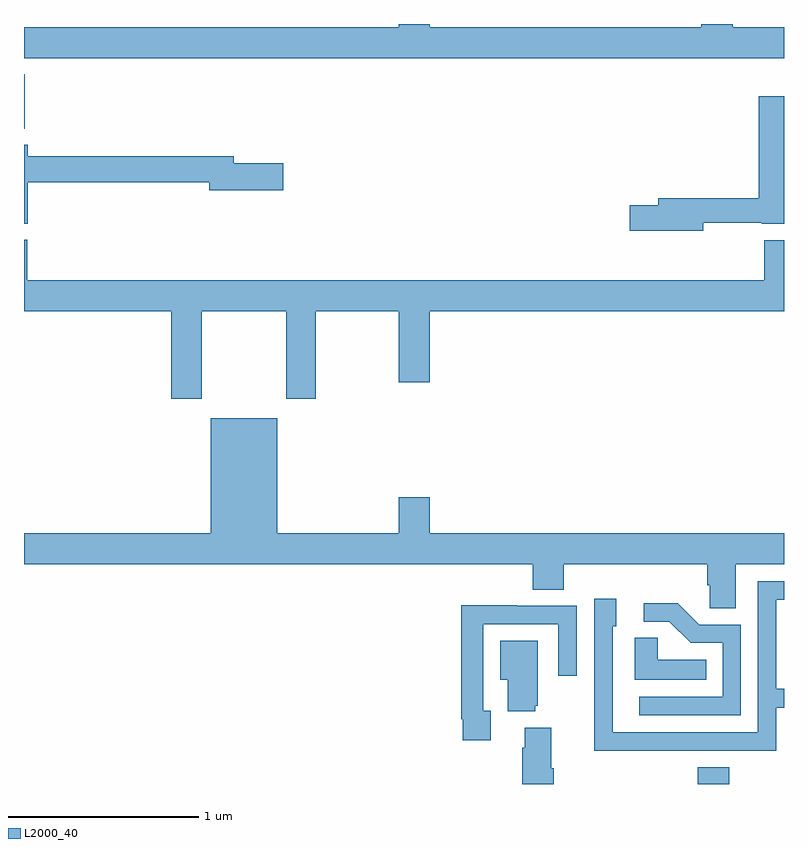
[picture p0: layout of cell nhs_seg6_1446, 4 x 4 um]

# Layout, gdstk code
import gdstk
lib = gdstk.Library(unit=1e-6, precision=1e-09)
def R(c, l, rs):  # rectangles x0, y0, x1, y1
    for r in rs: c.add(gdstk.rectangle(r[:2], r[2:], *l))
def P(c, l, *ps):  # polygons
    for p in ps: c.add(gdstk.Polygon(p, *l))
L2000_40 = (2000, 40)

nhs_seg6_1446 = lib.new_cell('nhs_seg6_1446')
R(nhs_seg6_1446, L2000_40, [(202.547,959.5,202.712,959.587), (199,962.949,199.004,963.235)])
P(nhs_seg6_1446, L2000_40, [(203,963.484),(202.73,963.484),(202.73,963.5),(202.565,963.5),(202.565,963.484),(201.136,963.484),(201.136,963.5),(200.972,963.5),(200.972,963.484),(199,963.484),(199,963.32),(203,963.32)],
  [(202.576,962.454),(202.884,962.454),(202.884,962.448),(203,962.448),(203,963.121),(202.868,963.121),(202.868,962.582),(202.337,962.582),(202.337,962.546),(202.188,962.546),(202.188,962.411),(202.576,962.411)],
  [(199.019,962.668),(199.976,962.668),(199.976,962.626),(200.365,962.626),(200.365,962.768),(200.104,962.768),(200.104,962.804),(199.019,962.804),(199.019,962.864),(199,962.864),(199,962.449),(199.019,962.449)],
  [(199.935,961.988),(200.38,961.988),(200.38,961.527),(200.535,961.527),(200.535,961.988),(200.972,961.988),(200.972,961.614),(201.136,961.614),(201.136,961.988),(203,961.988),(203,962.363),(202.895,962.363),(202.895,962.152),(199.016,962.152),(199.016,962.364),(199,962.364),(199,961.988),(199.775,961.988),(199.775,961.527),(199.935,961.527)],
  [(202.747,960.656),(203,960.656),(203,960.82),(201.136,960.82),(201.136,961.009),(200.972,961.009),(200.972,960.82),(200.332,960.82),(200.332,961.426),(199.982,961.426),(199.982,960.82),(199,960.82),(199,960.656),(201.677,960.656),(201.677,960.523),(201.842,960.523),(201.842,960.656),(202.595,960.656),(202.595,960.547),(202.608,960.547),(202.608,960.424),(202.747,960.424)],
  [(202.463,959.676),(202.959,959.676),(202.959,959.901),(203,959.901),(203,960.002),(202.959,960.002),(202.959,960.471),(203,960.471),(203,960.567),(202.863,960.567),(202.863,959.772),(202.098,959.772),(202.098,960.33),(202.117,960.33),(202.117,960.475),(202.002,960.475),(202.002,959.981),(202,959.981),(202,959.675),(202.463,959.675)],
  [(202.773,960.339),(202.554,960.339),(202.441,960.452),(202.263,960.452),(202.263,960.354),(202.397,960.354),(202.508,960.243),(202.677,960.243),(202.677,959.958),(202.239,959.958),(202.239,959.862),(202.773,959.862)],
  [(201.457,959.886),(201.417,959.886),(201.417,960.342),(201.813,960.342),(201.813,960.069),(201.909,960.069),(201.909,960.438),(201.593,960.438),(201.593,960.44),(201.301,960.44),(201.301,959.842),(201.309,959.842),(201.309,959.73),(201.457,959.73)],
  [(202.592,960.154),(202.335,960.154),(202.335,960.269),(202.214,960.269),(202.214,960.05),(202.592,960.05)],
  [(201.692,959.913),(201.703,959.913),(201.703,960.253),(201.506,960.253),(201.506,960.05),(201.545,960.05),(201.545,959.882),(201.692,959.882)],
  [(201.788,959.584),(201.775,959.584),(201.775,959.797),(201.635,959.797),(201.635,959.69),(201.623,959.69),(201.623,959.5),(201.788,959.5)])

lib.write_gds('nhs_seg6_1446.gds')
